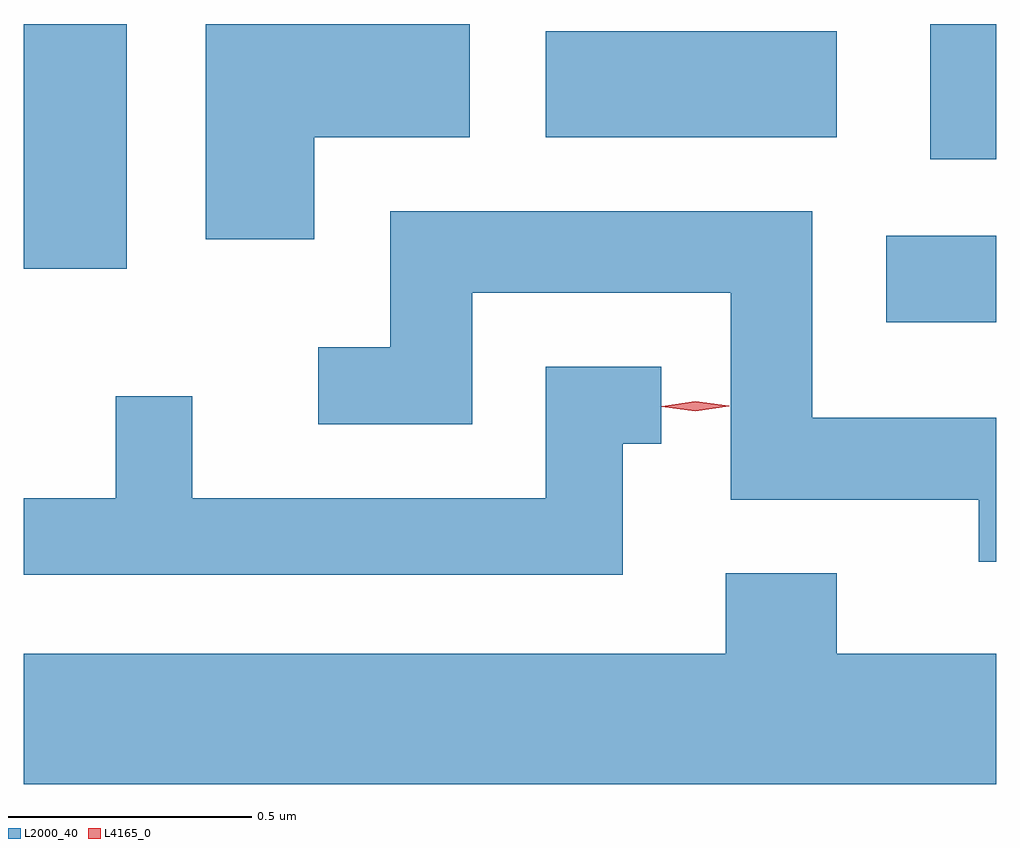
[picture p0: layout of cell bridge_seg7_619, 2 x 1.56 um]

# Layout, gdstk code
import gdstk
lib = gdstk.Library(unit=1e-6, precision=1e-09)
def R(c, l, rs):  # rectangles x0, y0, x1, y1
    for r in rs: c.add(gdstk.rectangle(r[:2], r[2:], *l))
def P(c, l, *ps):  # polygons
    for p in ps: c.add(gdstk.Polygon(p, *l))
L2000_40 = (2000, 40)
L4165_0 = (4165, 0)

bridge_seg7_619 = lib.new_cell('bridge_seg7_619')
R(bridge_seg7_619, L2000_40, [(712.921,1777.426,713.147,1777.604), (711.147,1777.536,711.359,1778.039), (713.011,1777.761,713.147,1778.039), (712.221,1777.806,712.819,1778.024)])
P(bridge_seg7_619, L2000_40, [(711.744,1777.806),(712.064,1777.806),(712.064,1778.039),(711.521,1778.039),(711.521,1777.596),(711.744,1777.596)],
  [(713.147,1777.229),(712.769,1777.229),(712.769,1777.654),(711.901,1777.654),(711.901,1777.374),(711.753,1777.374),(711.753,1777.216),(712.069,1777.216),(712.069,1777.486),(712.601,1777.486),(712.601,1777.061),(713.111,1777.061),(713.111,1776.933),(713.147,1776.933)],
  [(712.379,1777.176),(712.458,1777.176),(712.458,1777.334),(712.221,1777.334),(712.221,1777.064),(711.494,1777.064),(711.494,1777.273),(711.336,1777.273),(711.336,1777.064),(711.147,1777.064),(711.147,1776.906),(712.379,1776.906)],
  [(712.591,1776.909),(712.591,1776.744),(711.147,1776.744),(711.147,1776.476),(713.147,1776.476),(713.147,1776.744),(712.819,1776.744),(712.819,1776.909)])
P(bridge_seg7_619, L4165_0, [(712.528,1777.243),(712.459,1777.252),(712.459,1777.253),(712.459,1777.253),(712.528,1777.263),(712.598,1777.254),(712.598,1777.254),(712.598,1777.253)])

lib.write_gds('bridge_seg7_619.gds')
